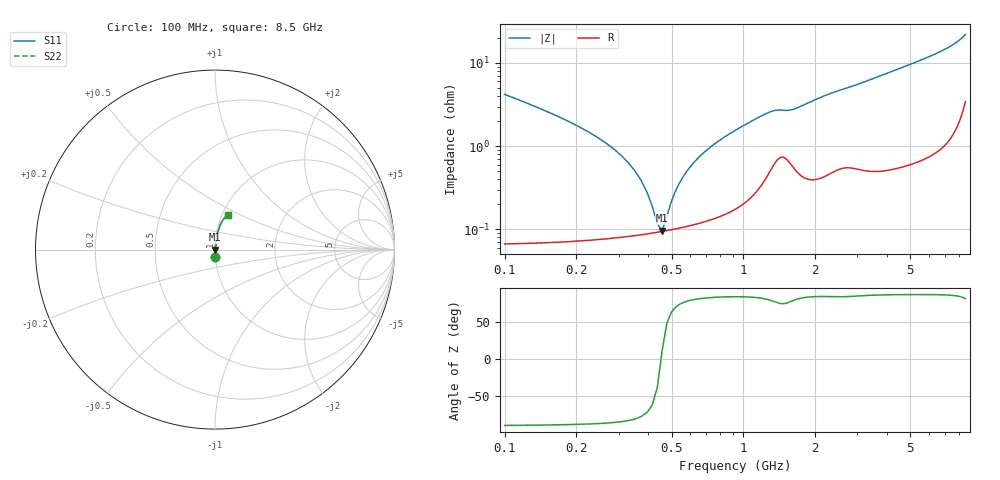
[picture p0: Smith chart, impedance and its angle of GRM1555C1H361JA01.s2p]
!Murata Part Number: GRM1555C1H361JA01
!These Parameters are Measured in Series Mode Connection
!Data Generated on Mar 30, 2021
!  o--ll--o
!Port1  Port2
!  o------o
!Operation Temp=25[degC], DC Bias Voltage=0[V]
!Freq. Start=100[MHz] Stop=9[GHz] 401[Steps]
# Hz S RI R 50
!Freq.(Hz) S11(Real) S11(Imag) S21(Real) S21(Imag) S12(Real) S12(Imag) S22(Real) S22(Imag)
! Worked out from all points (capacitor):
!   401 points, 100 MHz to 8.5 GHz, reference 50 ohm
!   read as one part in series: C = 360 pF near 142 MHz
!   lowest |Z| = 96.6 mohm at 457 MHz (marker M1)
!   series resonance near 452.5 MHz, so ESL is about 340 pH
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1e8  0.00243 -0.0419  0.9976 0.0419  0.9976 0.0419  0.00243 -0.0419
1.42e8  0.00147 -0.028  0.9985 0.028  0.9985 0.028  0.00147 -0.028
3.1e8  0.000862 -0.00753  0.9991 0.00753  0.9991 0.00753  0.000862 -0.00753
3.52e8  0.000867 -0.00493  0.9991 0.00493  0.9991 0.00493  0.000867 -0.00493
4.15e8  0.000905 -0.00168  0.9991 0.00168  0.9991 0.00168  0.000905 -0.00168
4.36e8  0.000923 -0.000718  0.9991 0.000718  0.9991 0.000718  0.000923 -0.000718
4.57e8  0.000945 0.000198  0.9991 -0.000198  0.9991 -0.000198  0.000945 0.000198
4.78e8  0.000968 0.00107  0.999 -0.00107  0.999 -0.00107  0.000968 0.00107
5.41e8  0.00105 0.0035  0.999 -0.0035  0.999 -0.0035  0.00105 0.0035
6.04e8  0.00115 0.00571  0.9989 -0.00571  0.9989 -0.00571  0.00115 0.00571
6.67e8  0.00126 0.00777  0.9987 -0.00777  0.9987 -0.00777  0.00126 0.00777
7.72e8  0.0015 0.011  0.9985 -0.011  0.9985 -0.011  0.0015 0.011
9.61e8  0.00213 0.0164  0.9979 -0.0164  0.9979 -0.0164  0.00213 0.0164
1.192e9  0.00393 0.0228  0.9961 -0.0228  0.9961 -0.0228  0.00393 0.0228
1.339e9  0.00657 0.0257  0.9934 -0.0257  0.9934 -0.0257  0.00657 0.0257
1.507e9  0.00767 0.0256  0.9923 -0.0256  0.9923 -0.0256  0.00767 0.0256
2.263e9  0.00623 0.0413  0.9938 -0.0413  0.9938 -0.0413  0.00623 0.0413
2.914e9  0.00816 0.0527  0.9918 -0.0527  0.9918 -0.0527  0.00816 0.0527
4.3e9  0.0118 0.08  0.9882 -0.08  0.9882 -0.08  0.0118 0.08
5.707e9  0.0191 0.1093  0.9809 -0.1093  0.9809 -0.1093  0.0191 0.1093
7.114e9  0.0321 0.1438  0.9679 -0.1438  0.9679 -0.1438  0.0321 0.1438
8.5e9  0.0742 0.1947  0.9258 -0.1947  0.9258 -0.1947  0.0742 0.1947
